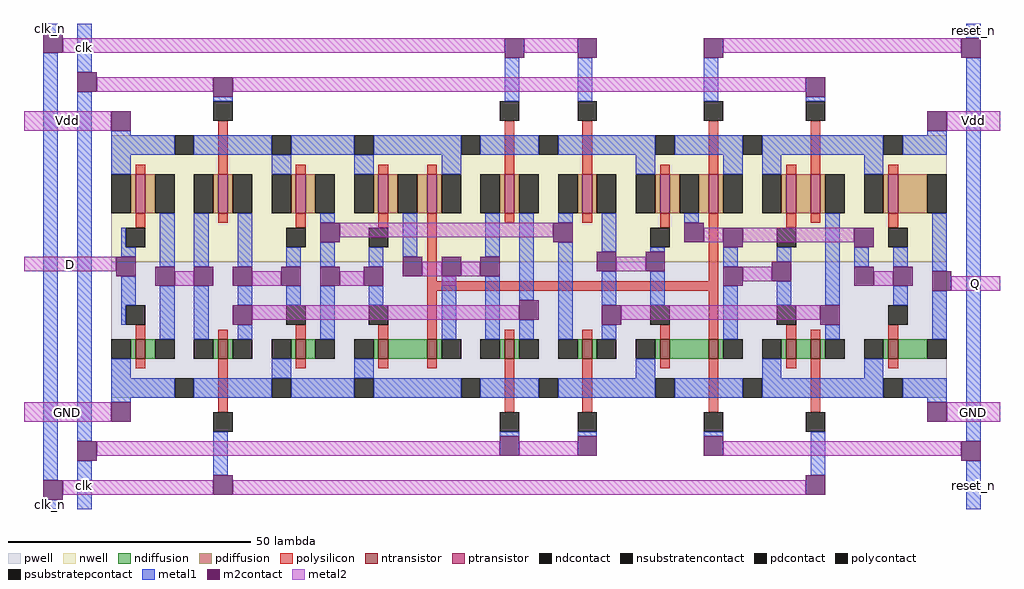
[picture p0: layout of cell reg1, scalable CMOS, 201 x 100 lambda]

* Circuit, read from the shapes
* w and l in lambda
.subckt reg1 D GND Q Vdd clk clk_n reset_n
M1 n1 D GND GND nfet w=4 l=2
M2 n2 clk_n n1 GND nfet w=4 l=2
M3 n3 n2 GND GND nfet w=4 l=2
M4 n4 n3 GND GND nfet w=4 l=2
M5 n5 reset_n n4 GND nfet w=4 l=2
M6 n2 clk n5 GND nfet w=4 l=2
M7 n6 clk n3 GND nfet w=4 l=2
M8 n7 n6 GND GND nfet w=4 l=2
M9 n8 reset_n n7 GND nfet w=4 l=2
M10 n9 n8 GND GND nfet w=4 l=2
M11 n6 clk_n n9 GND nfet w=4 l=2
M12 Q n8 GND GND nfet w=4 l=2
M13 n1 D Vdd Vdd pfet w=8 l=2
M14 n2 clk n1 Vdd pfet w=8 l=2
M15 n3 n2 Vdd Vdd pfet w=8 l=2
M16 n5 n3 Vdd Vdd pfet w=8 l=2
M17 Vdd reset_n n5 Vdd pfet w=8 l=2
M18 n2 clk_n n5 Vdd pfet w=8 l=2
M19 n6 clk_n n3 Vdd pfet w=8 l=2
M20 n8 n6 Vdd Vdd pfet w=8 l=2
M21 Vdd reset_n n8 Vdd pfet w=8 l=2
M22 n10 n8 Vdd Vdd pfet w=8 l=2
M23 n6 clk n10 Vdd pfet w=8 l=2
M24 Q n8 Vdd Vdd pfet w=8 l=2
.ends

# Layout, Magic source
magic
tech scmos
<< pwell >>
rect -12 -69 160 -41
<< nwell >>
rect -12 -41 160 -15
<< polysilicon >>
rect -7 -23 -5 -21
rect 10 -23 12 -12
rect 26 -23 28 -21
rect 43 -23 45 -21
rect 53 -23 55 -21
rect 69 -23 71 -12
rect 85 -23 87 -12
rect 101 -23 103 -21
rect 111 -23 113 -12
rect 127 -23 129 -21
rect 132 -23 134 -12
rect 148 -23 150 -21
rect -7 -34 -5 -31
rect 10 -33 12 -31
rect 26 -34 28 -31
rect 43 -34 45 -31
rect 53 -45 55 -31
rect 69 -33 71 -31
rect 85 -33 87 -31
rect 101 -34 103 -31
rect 111 -45 113 -31
rect 127 -34 129 -31
rect 132 -33 134 -31
rect 148 -34 150 -31
rect 53 -47 113 -45
rect -7 -57 -5 -54
rect 10 -57 12 -55
rect 26 -57 28 -54
rect 43 -57 45 -54
rect 53 -57 55 -47
rect 69 -57 71 -55
rect 85 -57 87 -55
rect 101 -57 103 -54
rect 111 -57 113 -47
rect 127 -57 129 -54
rect 132 -57 134 -55
rect 148 -57 150 -54
rect -7 -63 -5 -61
rect 10 -72 12 -61
rect 26 -63 28 -61
rect 43 -63 45 -61
rect 53 -63 55 -61
rect 69 -72 71 -61
rect 85 -72 87 -61
rect 101 -63 103 -61
rect 111 -72 113 -61
rect 127 -63 129 -61
rect 132 -72 134 -61
rect 148 -63 150 -61
<< ndiffusion >>
rect -8 -61 -7 -57
rect -5 -61 -3 -57
rect 9 -61 10 -57
rect 12 -61 13 -57
rect 25 -61 26 -57
rect 28 -61 30 -57
rect 42 -61 43 -57
rect 45 -61 53 -57
rect 55 -61 56 -57
rect 68 -61 69 -57
rect 71 -61 72 -57
rect 84 -61 85 -57
rect 87 -61 88 -57
rect 100 -61 101 -57
rect 103 -61 111 -57
rect 113 -61 114 -57
rect 126 -61 127 -57
rect 129 -61 132 -57
rect 134 -61 135 -57
rect 147 -61 148 -57
rect 150 -61 156 -57
<< pdiffusion >>
rect -8 -31 -7 -23
rect -5 -31 -3 -23
rect 9 -31 10 -23
rect 12 -31 13 -23
rect 25 -31 26 -23
rect 28 -31 30 -23
rect 42 -31 43 -23
rect 45 -31 47 -23
rect 51 -31 53 -23
rect 55 -31 56 -23
rect 68 -31 69 -23
rect 71 -31 72 -23
rect 84 -31 85 -23
rect 87 -31 88 -23
rect 100 -31 101 -23
rect 103 -31 105 -23
rect 109 -31 111 -23
rect 113 -31 114 -23
rect 126 -31 127 -23
rect 129 -31 132 -23
rect 134 -31 135 -23
rect 147 -31 148 -23
rect 150 -31 156 -23
<< metal1 >>
rect -26 6 -23 8
rect -26 -86 -23 2
rect -19 -2 -16 8
rect 164 5 167 8
rect -19 -78 -16 -6
rect 9 -8 13 -7
rect 69 -8 72 1
rect 84 -8 87 1
rect 110 -8 113 1
rect 131 -8 135 -7
rect -12 -15 -8 -14
rect 156 -15 160 -14
rect -12 -19 1 -15
rect 5 -19 21 -15
rect 25 -19 38 -15
rect 42 -19 60 -15
rect 64 -19 76 -15
rect 80 -19 100 -15
rect 104 -19 118 -15
rect 122 -19 147 -15
rect 151 -19 160 -15
rect -12 -23 -8 -19
rect 21 -23 25 -19
rect 38 -23 42 -19
rect 56 -23 60 -19
rect 96 -23 100 -19
rect 114 -23 118 -19
rect -10 -38 -9 -34
rect -10 -40 -7 -38
rect -2 -42 1 -31
rect -10 -50 -7 -44
rect -10 -54 -9 -50
rect -2 -57 1 -46
rect 5 -42 8 -31
rect 14 -42 17 -31
rect 31 -33 34 -31
rect 24 -42 27 -38
rect 5 -57 8 -46
rect 14 -50 17 -46
rect 24 -50 27 -46
rect 31 -42 34 -37
rect 41 -42 44 -38
rect 48 -40 51 -31
rect 65 -40 68 -31
rect 14 -57 17 -54
rect 31 -57 34 -46
rect 41 -50 44 -46
rect 56 -57 59 -44
rect 65 -57 68 -44
rect 122 -23 126 -19
rect 143 -23 147 -19
rect 72 -49 75 -31
rect 80 -33 83 -31
rect 72 -57 75 -53
rect 80 -57 83 -37
rect 89 -39 92 -31
rect 106 -33 109 -31
rect 99 -39 102 -38
rect 89 -50 92 -43
rect 99 -50 102 -43
rect 114 -42 117 -38
rect 125 -41 128 -38
rect 89 -57 92 -54
rect 114 -57 117 -46
rect 125 -50 128 -45
rect 135 -50 138 -31
rect 141 -42 144 -38
rect 149 -42 152 -38
rect 157 -43 160 -31
rect 149 -50 152 -46
rect 135 -57 138 -54
rect 157 -57 160 -47
rect -12 -65 -8 -61
rect 21 -65 25 -61
rect 38 -65 42 -61
rect 96 -65 100 -61
rect 122 -65 126 -61
rect 143 -65 147 -61
rect -12 -69 1 -65
rect 5 -69 21 -65
rect 25 -69 38 -65
rect 42 -69 60 -65
rect 64 -69 76 -65
rect 80 -69 100 -65
rect 104 -69 118 -65
rect 122 -69 147 -65
rect 151 -69 160 -65
rect -12 -70 -8 -69
rect 156 -70 160 -69
rect -26 -92 -23 -90
rect -19 -92 -16 -82
rect 9 -85 12 -76
rect 68 -77 72 -76
rect 84 -77 88 -76
rect 110 -77 114 -76
rect 132 -85 135 -76
rect 164 -78 167 1
rect 164 -92 167 -82
<< metal2 >>
rect -22 2 69 5
rect 73 2 84 5
rect 114 2 163 5
rect -15 -6 9 -3
rect 13 -6 131 -3
rect -30 -14 -12 -10
rect 160 -14 171 -10
rect 35 -36 79 -33
rect 110 -37 114 -34
rect 118 -37 141 -34
rect -30 -43 -11 -40
rect 1 -46 5 -43
rect 17 -46 23 -43
rect 35 -46 40 -43
rect 52 -44 56 -41
rect 60 -44 64 -41
rect 92 -43 98 -40
rect 56 -46 59 -44
rect 118 -45 124 -42
rect 145 -46 149 -43
rect 161 -47 171 -44
rect 17 -53 72 -50
rect 93 -53 134 -50
rect -30 -74 -12 -70
rect 160 -74 171 -70
rect -15 -81 68 -78
rect 72 -81 84 -78
rect 114 -81 163 -78
rect -22 -89 9 -86
rect 13 -89 131 -86
<< ntransistor >>
rect -7 -61 -5 -57
rect 10 -61 12 -57
rect 26 -61 28 -57
rect 43 -61 45 -57
rect 53 -61 55 -57
rect 69 -61 71 -57
rect 85 -61 87 -57
rect 101 -61 103 -57
rect 111 -61 113 -57
rect 127 -61 129 -57
rect 132 -61 134 -57
rect 148 -61 150 -57
<< ptransistor >>
rect -7 -31 -5 -23
rect 10 -31 12 -23
rect 26 -31 28 -23
rect 43 -31 45 -23
rect 53 -31 55 -23
rect 69 -31 71 -23
rect 85 -31 87 -23
rect 101 -31 103 -23
rect 111 -31 113 -23
rect 127 -31 129 -23
rect 132 -31 134 -23
rect 148 -31 150 -23
<< polycontact >>
rect 9 -12 13 -8
rect 68 -12 72 -8
rect 84 -12 88 -8
rect 110 -12 114 -8
rect 131 -12 135 -8
rect -9 -38 -5 -34
rect 24 -38 28 -34
rect 41 -38 45 -34
rect 99 -38 103 -34
rect 125 -38 129 -34
rect 148 -38 152 -34
rect -9 -54 -5 -50
rect 24 -54 28 -50
rect 41 -54 45 -50
rect 99 -54 103 -50
rect 125 -54 129 -50
rect 148 -54 152 -50
rect 9 -76 13 -72
rect 68 -76 72 -72
rect 84 -76 88 -72
rect 110 -76 114 -72
rect 131 -76 135 -72
<< ndcontact >>
rect -12 -61 -8 -57
rect -3 -61 1 -57
rect 5 -61 9 -57
rect 13 -61 17 -57
rect 21 -61 25 -57
rect 30 -61 34 -57
rect 38 -61 42 -57
rect 56 -61 60 -57
rect 64 -61 68 -57
rect 72 -61 76 -57
rect 80 -61 84 -57
rect 88 -61 92 -57
rect 96 -61 100 -57
rect 114 -61 118 -57
rect 122 -61 126 -57
rect 135 -61 139 -57
rect 143 -61 147 -57
rect 156 -61 160 -57
<< pdcontact >>
rect -12 -31 -8 -23
rect -3 -31 1 -23
rect 5 -31 9 -23
rect 13 -31 17 -23
rect 21 -31 25 -23
rect 30 -31 34 -23
rect 38 -31 42 -23
rect 47 -31 51 -23
rect 56 -31 60 -23
rect 64 -31 68 -23
rect 72 -31 76 -23
rect 80 -31 84 -23
rect 88 -31 92 -23
rect 96 -31 100 -23
rect 105 -31 109 -23
rect 114 -31 118 -23
rect 122 -31 126 -23
rect 135 -31 139 -23
rect 143 -31 147 -23
rect 156 -31 160 -23
<< m2contact >>
rect -26 2 -22 6
rect 69 1 73 5
rect 84 1 88 5
rect 110 1 114 5
rect 163 1 167 5
rect -19 -6 -15 -2
rect 9 -7 13 -3
rect -12 -14 -8 -10
rect 131 -7 135 -3
rect 156 -14 160 -10
rect -11 -44 -7 -40
rect -3 -46 1 -42
rect 31 -37 35 -33
rect 5 -46 9 -42
rect 13 -46 17 -42
rect 23 -46 27 -42
rect 13 -54 17 -50
rect 31 -46 35 -42
rect 40 -46 44 -42
rect 48 -44 52 -40
rect 56 -44 60 -40
rect 64 -44 68 -40
rect 79 -37 83 -33
rect 72 -53 76 -49
rect 106 -37 110 -33
rect 114 -38 118 -34
rect 88 -43 92 -39
rect 98 -43 102 -39
rect 114 -46 118 -42
rect 124 -45 128 -41
rect 89 -54 93 -50
rect 141 -38 145 -34
rect 141 -46 145 -42
rect 149 -46 153 -42
rect 134 -54 138 -50
rect 157 -47 161 -43
rect -12 -74 -8 -70
rect -19 -82 -15 -78
rect -26 -90 -22 -86
rect 68 -81 72 -77
rect 84 -81 88 -77
rect 156 -74 160 -70
rect 110 -81 114 -77
rect 163 -82 167 -78
rect 9 -89 13 -85
rect 131 -89 135 -85
<< psubstratepcontact >>
rect 1 -69 5 -65
rect 21 -69 25 -65
rect 38 -69 42 -65
rect 60 -69 64 -65
rect 76 -69 80 -65
rect 100 -69 104 -65
rect 118 -69 122 -65
rect 147 -69 151 -65
<< nsubstratencontact >>
rect 1 -19 5 -15
rect 21 -19 25 -15
rect 38 -19 42 -15
rect 60 -19 64 -15
rect 76 -19 80 -15
rect 100 -19 104 -15
rect 118 -19 122 -15
rect 147 -19 151 -15
<< labels >>
rlabel metal1 -26 6 -23 8 1 clk_n
rlabel metal1 -19 -2 -16 8 1 clk
rlabel metal1 164 5 167 8 1 reset_n
rlabel metal2 -30 -74 -12 -70 7 GND
rlabel metal2 -30 -43 -11 -40 7 D
rlabel metal2 160 -14 171 -10 3 Vdd
rlabel metal2 161 -47 171 -44 3 Q
rlabel metal2 160 -74 171 -70 3 GND
rlabel metal2 -30 -14 -12 -10 7 Vdd
rlabel metal1 -19 -92 -16 -82 5 clk
rlabel metal1 -26 -92 -23 -90 5 clk_n
rlabel metal1 164 -92 167 -82 5 reset_n
<< end >>
